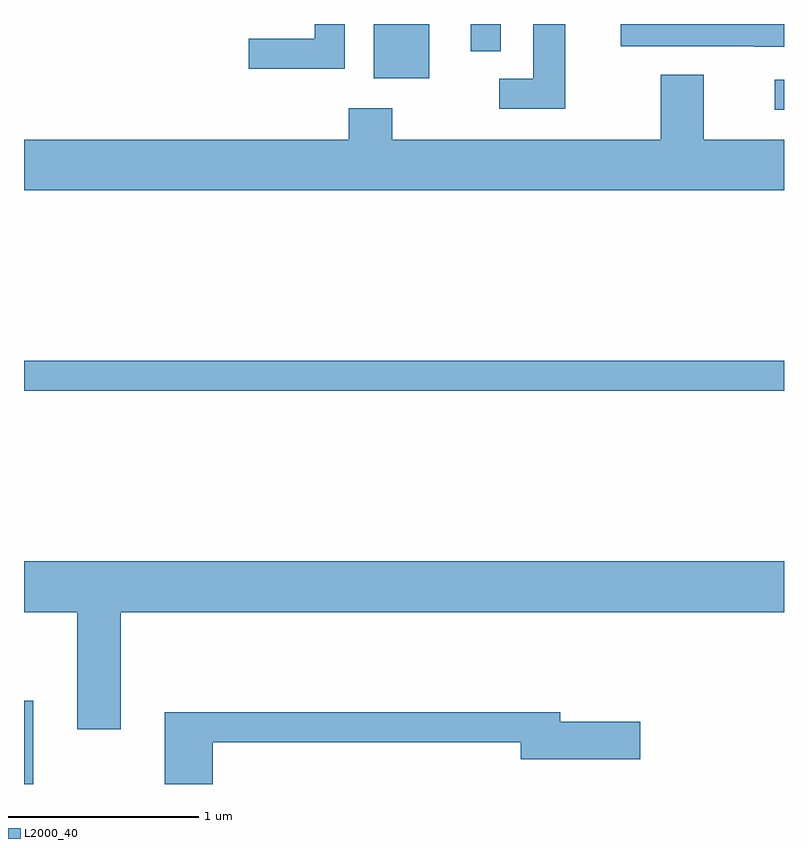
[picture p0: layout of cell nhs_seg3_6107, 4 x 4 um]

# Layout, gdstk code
import gdstk
lib = gdstk.Library(unit=1e-6, precision=1e-09)
def R(c, l, rs):  # rectangles x0, y0, x1, y1
    for r in rs: c.add(gdstk.rectangle(r[:2], r[2:], *l))
def P(c, l, *ps):  # polygons
    for p in ps: c.add(gdstk.Polygon(p, *l))
L2000_40 = (2000, 40)

nhs_seg3_6107 = lib.new_cell('nhs_seg3_6107')
R(nhs_seg3_6107, L2000_40, [(363.611,1233.892,363.659,1234.329), (363.611,1235.961,367.611,1236.119), (367.563,1237.441,367.611,1237.599), (365.451,1237.606,365.744,1237.892), (365.961,1237.748,366.119,1237.892)])
P(nhs_seg3_6107, L2000_40, [(367.611,1237.892),(366.751,1237.892),(366.751,1237.776),(367.455,1237.776),(367.455,1237.771),(367.611,1237.771)],
  [(365.299,1237.892),(365.141,1237.892),(365.141,1237.814),(364.793,1237.814),(364.793,1237.656),(365.299,1237.656)],
  [(366.459,1237.892),(366.291,1237.892),(366.291,1237.604),(366.113,1237.604),(366.113,1237.446),(366.459,1237.446)],
  [(367.611,1237.284),(367.189,1237.284),(367.189,1237.624),(366.961,1237.624),(366.961,1237.284),(365.549,1237.284),(365.549,1237.449),(365.321,1237.449),(365.321,1237.284),(363.611,1237.284),(363.611,1237.016),(367.611,1237.016)],
  [(364.119,1234.796),(367.611,1234.796),(367.611,1235.064),(363.611,1235.064),(363.611,1234.796),(363.891,1234.796),(363.891,1234.181),(364.119,1234.181)],
  [(364.604,1234.111),(366.226,1234.111),(366.226,1234.021),(366.854,1234.021),(366.854,1234.219),(366.434,1234.219),(366.434,1234.269),(364.351,1234.269),(364.351,1233.892),(364.604,1233.892)])

lib.write_gds('nhs_seg3_6107.gds')
